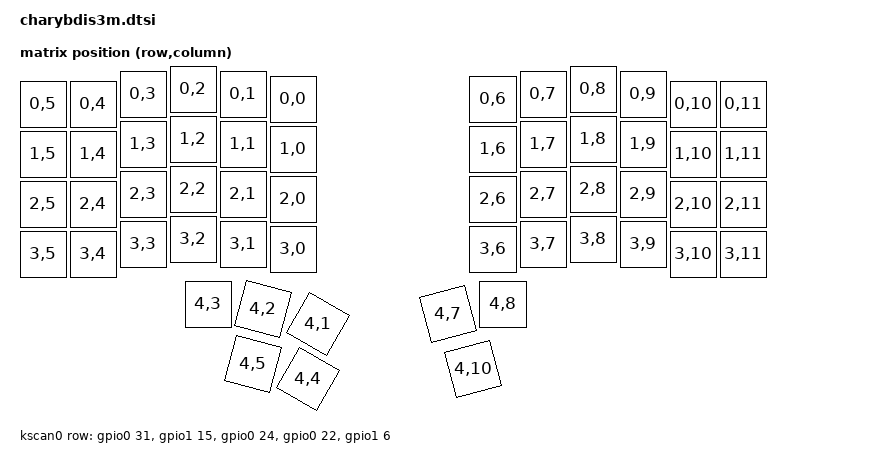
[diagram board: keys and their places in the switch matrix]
#include <dt-bindings/zmk/matrix_transform.h>
#include <input/processors.dtsi>
#include <dt-bindings/zmk/input_transform.h>
#include <physical_layouts.dtsi>

/ {
    chosen {
        zmk,kscan = &kscan0;
        zmk,physical-layout = &charybdis3m_layout;
    };

    default_transform: keymap_transform_0 {
	compatible = "zmk,matrix-transform";
        columns = <12>;
        rows = <5>;
        map = <
			RC(0,5) RC(0,4) RC(0,3) RC(0,2) RC(0,1) RC(0,0)                   RC(0,6) RC(0,7) RC(0,8) RC(0,9) RC(0,10) RC(0,11)
			RC(1,5) RC(1,4) RC(1,3) RC(1,2) RC(1,1) RC(1,0)                   RC(1,6) RC(1,7) RC(1,8) RC(1,9) RC(1,10) RC(1,11)
			RC(2,5) RC(2,4) RC(2,3) RC(2,2) RC(2,1) RC(2,0)                   RC(2,6) RC(2,7) RC(2,8) RC(2,9) RC(2,10) RC(2,11)
			RC(3,5) RC(3,4) RC(3,3) RC(3,2) RC(3,1) RC(3,0)                   RC(3,6) RC(3,7) RC(3,8) RC(3,9) RC(3,10) RC(3,11)
				                RC(4,3) RC(4,2) RC(4,1)                   RC(4,7)  RC(4,8)
						        RC(4,5) RC(4,4)                   RC(4,10) 
        >;
    };

    /* Approximate key positions for ZMK Studio, in matrix-transform order:
     * four 12-key rows, then the 3+2 and 2+1 thumb rows. */
    charybdis3m_layout: charybdis3m_layout {
        compatible = "zmk,physical-layout";
        display-name = "Charybdis 3m";
        transform = <&default_transform>;
        keys  //                     w   h     x    y     rot   rx   ry
            = <&key_physical_attrs 100 100     0   30       0    0    0>
            , <&key_physical_attrs 100 100   100   30       0    0    0>
            , <&key_physical_attrs 100 100   200   10       0    0    0>
            , <&key_physical_attrs 100 100   300    0       0    0    0>
            , <&key_physical_attrs 100 100   400   10       0    0    0>
            , <&key_physical_attrs 100 100   500   20       0    0    0>
            , <&key_physical_attrs 100 100   900   20       0    0    0>
            , <&key_physical_attrs 100 100  1000   10       0    0    0>
            , <&key_physical_attrs 100 100  1100    0       0    0    0>
            , <&key_physical_attrs 100 100  1200   10       0    0    0>
            , <&key_physical_attrs 100 100  1300   30       0    0    0>
            , <&key_physical_attrs 100 100  1400   30       0    0    0>
            , <&key_physical_attrs 100 100     0  130       0    0    0>
            , <&key_physical_attrs 100 100   100  130       0    0    0>
            , <&key_physical_attrs 100 100   200  110       0    0    0>
            , <&key_physical_attrs 100 100   300  100       0    0    0>
            , <&key_physical_attrs 100 100   400  110       0    0    0>
            , <&key_physical_attrs 100 100   500  120       0    0    0>
            , <&key_physical_attrs 100 100   900  120       0    0    0>
            , <&key_physical_attrs 100 100  1000  110       0    0    0>
            , <&key_physical_attrs 100 100  1100  100       0    0    0>
            , <&key_physical_attrs 100 100  1200  110       0    0    0>
            , <&key_physical_attrs 100 100  1300  130       0    0    0>
            , <&key_physical_attrs 100 100  1400  130       0    0    0>
            , <&key_physical_attrs 100 100     0  230       0    0    0>
            , <&key_physical_attrs 100 100   100  230       0    0    0>
            , <&key_physical_attrs 100 100   200  210       0    0    0>
            , <&key_physical_attrs 100 100   300  200       0    0    0>
            , <&key_physical_attrs 100 100   400  210       0    0    0>
            , <&key_physical_attrs 100 100   500  220       0    0    0>
            , <&key_physical_attrs 100 100   900  220       0    0    0>
            , <&key_physical_attrs 100 100  1000  210       0    0    0>
            , <&key_physical_attrs 100 100  1100  200       0    0    0>
            , <&key_physical_attrs 100 100  1200  210       0    0    0>
            , <&key_physical_attrs 100 100  1300  230       0    0    0>
            , <&key_physical_attrs 100 100  1400  230       0    0    0>
            , <&key_physical_attrs 100 100     0  330       0    0    0>
            , <&key_physical_attrs 100 100   100  330       0    0    0>
            , <&key_physical_attrs 100 100   200  310       0    0    0>
            , <&key_physical_attrs 100 100   300  300       0    0    0>
            , <&key_physical_attrs 100 100   400  310       0    0    0>
            , <&key_physical_attrs 100 100   500  320       0    0    0>
            , <&key_physical_attrs 100 100   900  320       0    0    0>
            , <&key_physical_attrs 100 100  1000  310       0    0    0>
            , <&key_physical_attrs 100 100  1100  300       0    0    0>
            , <&key_physical_attrs 100 100  1200  310       0    0    0>
            , <&key_physical_attrs 100 100  1300  330       0    0    0>
            , <&key_physical_attrs 100 100  1400  330       0    0    0>
            , <&key_physical_attrs 100 100   330  430       0    0    0>
            , <&key_physical_attrs 100 100   440  440    1500  490  490>
            , <&key_physical_attrs 100 100   550  470    3000  600  520>
            , <&key_physical_attrs 100 100   810  450 (-1500)  860  500>
            , <&key_physical_attrs 100 100   920  430       0    0    0>
            , <&key_physical_attrs 100 100   420  550    1500  470  600>
            , <&key_physical_attrs 100 100   530  580    3000  580  630>
            , <&key_physical_attrs 100 100   860  560 (-1500)  910  610>
            ;
    };

    /* Trackball on the right half, proxied to the central over split.
     * Enabled only in the right and central overlays. */
    split_inputs {
        #address-cells = <1>;
        #size-cells = <0>;

        trackball_split: trackball_split@0 {
            compatible = "zmk,input-split";
            reg = <0>;
            status = "disabled";
        };
    };

    /* Pulses P1.15 on the dongle (zmk-behavior-pushbutton); enabled only in
     * the central overlay so the keymap can reference &pb on every board. */
    behaviors {
        pb: pushbutton {
            compatible = "zmk,behavior-pushbutton";
            display-name = "Push Button";
            #binding-cells = <0>;
            gpios = <&gpio1 15 GPIO_ACTIVE_HIGH>;
            press-duration-ms = <200>;
            status = "disabled";
        };
    };

    trackball_listener: trackball_listener {
        compatible = "zmk,input-listener";
        status = "disabled";
        device = <&trackball_split>;
        input-processors = <&zip_xy_scaler 1 2>;

        scroller {
            layers = <3>;
            input-processors = <&zip_xy_transform (INPUT_TRANSFORM_Y_INVERT)>, <&zip_xy_scaler 1 16>, <&zip_xy_to_scroll_mapper>;
        };
    };

    kscan0: kscan {
        compatible = "zmk,kscan-gpio-matrix";
        label = "KSCAN";
        diode-direction = "col2row";
		row-gpios
            	= <&gpio0 31 (GPIO_ACTIVE_HIGH | GPIO_PULL_DOWN)>
            	, <&gpio1 15 (GPIO_ACTIVE_HIGH | GPIO_PULL_DOWN)>
            	, <&gpio0 24 (GPIO_ACTIVE_HIGH | GPIO_PULL_DOWN)>
	        , <&gpio0 22 (GPIO_ACTIVE_HIGH | GPIO_PULL_DOWN)>
	        , <&gpio1 6 (GPIO_ACTIVE_HIGH | GPIO_PULL_DOWN)>
            ;
    };
};

